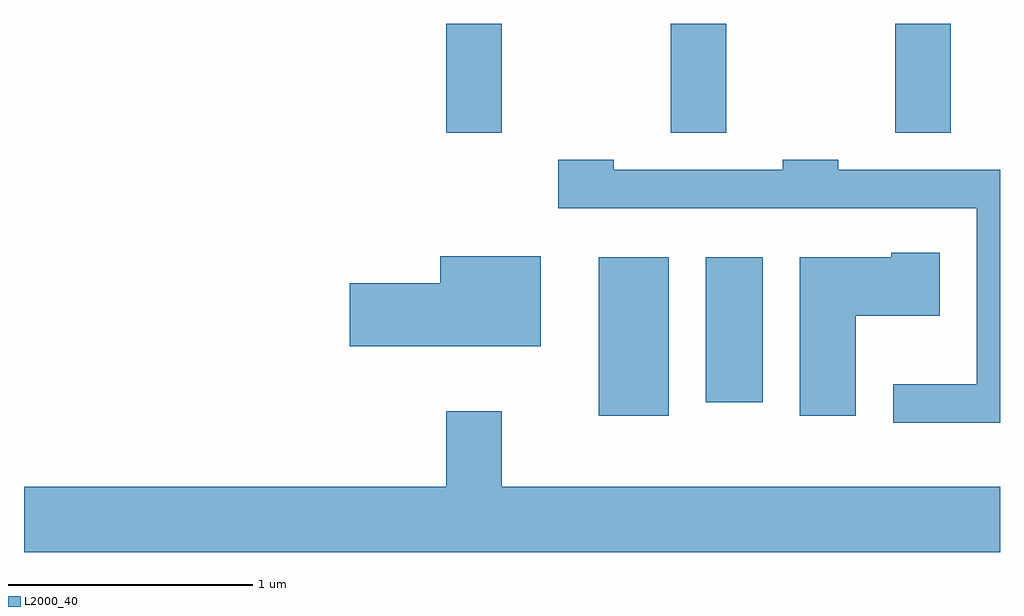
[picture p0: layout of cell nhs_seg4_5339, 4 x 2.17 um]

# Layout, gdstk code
import gdstk
lib = gdstk.Library(unit=1e-6, precision=1e-09)
def R(c, l, rs):  # rectangles x0, y0, x1, y1
    for r in rs: c.add(gdstk.rectangle(r[:2], r[2:], *l))
def A(c, l, x, y, w, h, nx, ny, dx, dy):  # array of equal rectangles
    R(c, l, [(x+i*dx, y+j*dy, x+i*dx+w, y+j*dy+h) for i in range(nx) for j in range(ny)])
def P(c, l, *ps):  # polygons
    for p in ps: c.add(gdstk.Polygon(p, *l))
L2000_40 = (2000, 40)

nhs_seg4_5339 = lib.new_cell('nhs_seg4_5339')
A(nhs_seg4_5339, L2000_40, 343.341, 1327.536, 0.228, 0.446, 3, 1, 0.92, 0)
R(nhs_seg4_5339, L2000_40, [(343.966,1326.376,344.254,1327.024), (344.406,1326.431,344.639,1327.024)])
P(nhs_seg4_5339, L2000_40, [(345.611,1327.384),(344.949,1327.384),(344.949,1327.424),(344.721,1327.424),(344.721,1327.384),(344.029,1327.384),(344.029,1327.424),(343.801,1327.424),(343.801,1327.226),(345.516,1327.226),(345.516,1326.504),(345.173,1326.504),(345.173,1326.346),(345.611,1326.346)],
  [(345.019,1326.786),(345.364,1326.786),(345.364,1327.044),(345.166,1327.044),(345.166,1327.024),(344.791,1327.024),(344.791,1326.376),(345.019,1326.376)],
  [(343.729,1327.029),(343.316,1327.029),(343.316,1326.919),(342.946,1326.919),(342.946,1326.661),(343.729,1326.661)],
  [(345.611,1326.084),(343.569,1326.084),(343.569,1326.394),(343.341,1326.394),(343.341,1326.084),(341.611,1326.084),(341.611,1325.816),(345.611,1325.816)])

lib.write_gds('nhs_seg4_5339.gds')
